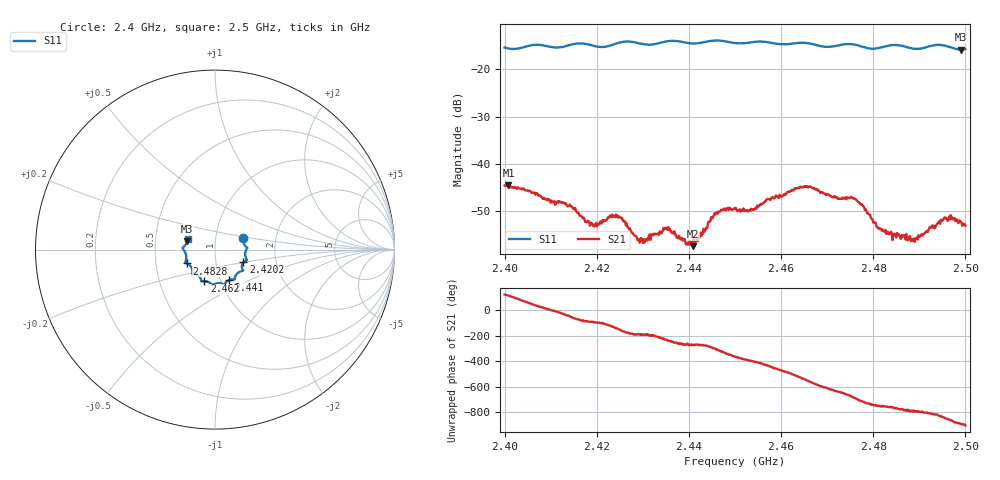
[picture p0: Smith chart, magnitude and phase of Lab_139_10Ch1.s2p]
# Hz S RI R 50
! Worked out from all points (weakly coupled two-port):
!   601 points, 2.4 GHz to 2.5 GHz, reference 50 ohm
!   highest |S21| = -44.53 dB at 2.4008 GHz (marker M1); lowest = -57.4 dB at 2.4408 GHz (marker M2)
!   lowest |S11| = -15.8 dB at 2.499 GHz (marker M3), VSWR 1.38, Z = 36.5 + j3.45 ohm
!   |S11| at or under -10 dB: start of sweep to end of sweep
!   S12 and S22 are empty: the file has one direction only
!   S11 on the Smith chart (normalised r, x): 2.4 GHz: 1.36, +0.18; 2.4202 GHz: 1.36, -0.20; 2.441 GHz: 1.10, -0.39; 2.462 GHz: 0.84, -0.30; 2.4828 GHz: 0.72, -0.12; 2.5 GHz: 0.73, +0.09
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2.4e9  0.1572 0.0629  -0.00344 0.00482  0 0  0 0
2.400833e9  0.1568 0.0534  -0.00278 0.00525  0 0  0 0
2.416667e9  0.1778 -0.0599  0.000457 -0.00278  0 0  0 0
2.420167e9  0.1583 -0.0705  -0.00029 -0.00231  0 0  0 0
2.424667e9  0.1539 -0.1108  -0.00226 -0.00149  0 0  0 0
2.4295e9  0.1413 -0.122  -0.00164 0.000177  0 0  0 0
2.433333e9  0.1124 -0.1508  -0.00159 0.000943  0 0  0 0
2.435333e9  0.1105 -0.1643  -0.00114 0.00166  0 0  0 0
2.440833e9  0.0804 -0.1692  -4.77e-05 0.00135  0 0  0 0
2.441e9  0.0787 -0.1697  9.81e-05 0.00162  0 0  0 0
2.445833e9  0.0512 -0.1947  0.00177 0.00247  0 0  0 0
2.45e9  0.0287 -0.187  0.00338 -0.000199  0 0  0 0
2.454167e9  -0.00767 -0.1942  0.00241 -0.00222  0 0  0 0
2.462e9  -0.0601 -0.1755  -0.00363 -0.00366  0 0  0 0
2.466667e9  -0.0776 -0.1682  -0.00497 0.00262  0 0  0 0
2.475667e9  -0.1264 -0.1325  0.00348 0.00252  0 0  0 0
2.482833e9  -0.1575 -0.0774  0.00145 -0.00111  0 0  0 0
2.483333e9  -0.1607 -0.0762  0.00141 -0.00113  0 0  0 0
2.488667e9  -0.1598 -0.0413  0.00057 -0.0015  0 0  0 0
2.495167e9  -0.1785 0.0116  -0.00125 -0.00226  0 0  0 0
2.499e9  -0.1545 0.0461  -0.00242 -0.000307  0 0  0 0
2.5e9  -0.1516 0.0608  -0.00222 0.000201  0 0  0 0
